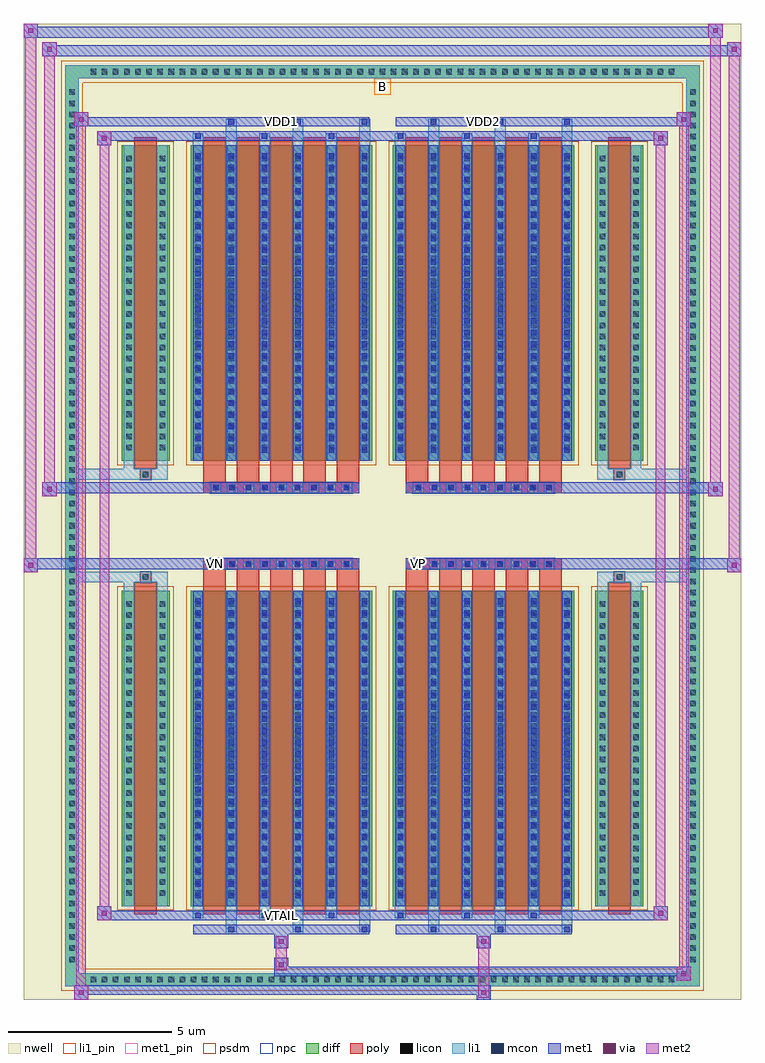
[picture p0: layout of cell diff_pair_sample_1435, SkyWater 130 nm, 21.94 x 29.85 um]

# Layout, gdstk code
import gdstk
lib = gdstk.Library(unit=1e-6, precision=5e-09)
def R(c, l, rs):  # rectangles x0, y0, x1, y1
    for r in rs: c.add(gdstk.rectangle(r[:2], r[2:], *l))
def A(c, l, x, y, w, h, nx, ny, dx, dy):  # array of equal rectangles
    R(c, l, [(x+i*dx, y+j*dy, x+i*dx+w, y+j*dy+h) for i in range(nx) for j in range(ny)])
def P(c, l, *ps):  # polygons
    for p in ps: c.add(gdstk.Polygon(p, *l))
nwell = (64, 20)
diff = (65, 20)
poly = (66, 20)
licon = (66, 44)
li1_pin = (67, 16)
li1 = (67, 20)
mcon = (67, 44)
met1_pin = (68, 16)
met1 = (68, 20)
via = (68, 44)
met2 = (69, 20)
psdm = (94, 20)
npc = (95, 20)

diff_pair_sample_1435 = lib.new_cell('diff_pair_sample_1435')
R(diff_pair_sample_1435, nwell, [(-10.97,-14.49,10.97,15.36), (-8.29,-12.68,-0.01,-0.8), (0.01,-12.68,8.29,-0.8), (-8.29,0.8,-0.01,12.68), (0.01,0.8,8.29,12.68)])
A(diff_pair_sample_1435, diff, -9.045, -14.09, 0.41, 0.41, 53, 2, 0.34, 27.77)
A(diff_pair_sample_1435, diff, -9.7, -13.465, 0.41, 0.41, 1, 79, 0, 0.34)
A(diff_pair_sample_1435, diff, 9.29, -13.465, 0.41, 0.41, 1, 79, 0, 0.34)
R(diff_pair_sample_1435, diff, [(-9.045,-14.09,9.045,-13.68), (-9.7,-13.465,-9.29,13.465), (9.29,-13.465,9.7,13.465), (-7.98,-11.635,-6.51,-1.985), (-5.87,-11.635,-0.32,-1.985), (0.32,-11.635,5.87,-1.985), (6.51,-11.635,7.98,-1.985), (-7.98,1.985,-6.51,11.635), (-5.87,1.985,-0.32,11.635), (0.32,1.985,5.87,11.635), (6.51,1.985,7.98,11.635), (-9.045,13.68,9.045,14.09)])
P(diff_pair_sample_1435, diff, [(9.7,14.09),(-9.7,14.09),(-9.7,-13.68),(-9.29,-13.68),(-9.29,13.68),(9.29,13.68),(9.29,-13.68),(-9.29,-13.68),(-9.7,-13.68),(-9.7,-14.09),(9.7,-14.09)])
A(diff_pair_sample_1435, poly, -5.48, -11.885, 0.69, 10.15, 5, 2, 1.02, 13.62)
A(diff_pair_sample_1435, poly, 0.71, -11.885, 0.69, 10.15, 5, 2, 1.02, 13.62)
A(diff_pair_sample_1435, poly, -5.48, -1.735, 0.69, 0.405, 5, 2, 1.02, 3.065)
A(diff_pair_sample_1435, poly, 0.71, -1.735, 0.69, 0.405, 5, 2, 1.02, 3.065)
A(diff_pair_sample_1435, poly, -5.26, -1.33, 0.33, 0.33, 9, 2, 0.5, 2.33)
A(diff_pair_sample_1435, poly, 0.93, -1.33, 0.33, 0.33, 9, 2, 0.5, 2.33)
R(diff_pair_sample_1435, poly, [(-7.59,-11.885,-6.9,-1.735), (6.9,-11.885,7.59,-1.735), (-7.41,-1.735,-7.08,-1.405), (-7.41,-1.735,-7.08,-1.405), (7.08,-1.735,7.41,-1.405), (7.08,-1.735,7.41,-1.405), (-5.48,-1.33,-0.71,-1), (0.71,-1.33,5.48,-1), (-5.48,1,-0.71,1.33), (0.71,1,5.48,1.33), (-7.41,1.405,-7.08,1.735), (-7.41,1.405,-7.08,1.735), (7.08,1.405,7.41,1.735), (7.08,1.405,7.41,1.735), (-7.59,1.735,-6.9,11.885), (6.9,1.735,7.59,11.885)])
A(diff_pair_sample_1435, licon, -8.925, -13.97, 0.17, 0.17, 53, 2, 0.34, 27.77)
A(diff_pair_sample_1435, licon, -9.58, -13.345, 0.17, 0.17, 1, 79, 0, 0.34)
A(diff_pair_sample_1435, licon, 9.41, -13.345, 0.17, 0.17, 1, 79, 0, 0.34)
A(diff_pair_sample_1435, licon, -7.84, -11.315, 0.17, 0.17, 1, 27, 0, 0.34)
A(diff_pair_sample_1435, licon, -6.82, -11.315, 0.17, 0.17, 1, 27, 0, 0.34)
A(diff_pair_sample_1435, licon, -5.73, -11.315, 0.17, 0.17, 6, 27, 1.02, 0.34)
A(diff_pair_sample_1435, licon, 0.46, -11.315, 0.17, 0.17, 6, 27, 1.02, 0.34)
A(diff_pair_sample_1435, licon, 6.65, -11.315, 0.17, 0.17, 1, 27, 0, 0.34)
A(diff_pair_sample_1435, licon, 7.67, -11.315, 0.17, 0.17, 1, 27, 0, 0.34)
A(diff_pair_sample_1435, licon, -5.18, -1.25, 0.17, 0.17, 9, 2, 0.5, 2.33)
A(diff_pair_sample_1435, licon, 1.01, -1.25, 0.17, 0.17, 9, 2, 0.5, 2.33)
A(diff_pair_sample_1435, licon, -7.84, 2.305, 0.17, 0.17, 1, 27, 0, 0.34)
A(diff_pair_sample_1435, licon, -6.82, 2.305, 0.17, 0.17, 1, 27, 0, 0.34)
A(diff_pair_sample_1435, licon, -5.73, 2.305, 0.17, 0.17, 6, 27, 1.02, 0.34)
A(diff_pair_sample_1435, licon, 0.46, 2.305, 0.17, 0.17, 6, 27, 1.02, 0.34)
A(diff_pair_sample_1435, licon, 6.65, 2.305, 0.17, 0.17, 1, 27, 0, 0.34)
A(diff_pair_sample_1435, licon, 7.67, 2.305, 0.17, 0.17, 1, 27, 0, 0.34)
R(diff_pair_sample_1435, licon, [(-7.33,-1.655,-7.16,-1.485), (7.16,-1.655,7.33,-1.485), (-7.33,1.485,-7.16,1.655), (7.16,1.485,7.33,1.655)])
R(diff_pair_sample_1435, li1_pin, [(-0.25,13.18,0.25,13.68)])
A(diff_pair_sample_1435, li1, -9.005, -14.05, 0.33, 0.33, 53, 2, 0.34, 27.77)
A(diff_pair_sample_1435, li1, -9.66, -13.425, 0.33, 0.33, 1, 79, 0, 0.34)
A(diff_pair_sample_1435, li1, 9.33, -13.425, 0.33, 0.33, 1, 79, 0, 0.34)
A(diff_pair_sample_1435, li1, -4.79, -12.44, 0.33, 0.805, 3, 2, 2.04, 24.075)
A(diff_pair_sample_1435, li1, -4.71, -12.44, 0.17, 0.17, 3, 2, 2.04, 24.71)
A(diff_pair_sample_1435, li1, 1.4, -12.44, 0.33, 0.805, 3, 2, 2.04, 24.075)
A(diff_pair_sample_1435, li1, 1.48, -12.44, 0.17, 0.17, 3, 2, 2.04, 24.71)
A(diff_pair_sample_1435, li1, -5.81, -12.01, 0.33, 0.375, 3, 2, 2.04, 23.645)
A(diff_pair_sample_1435, li1, -5.73, -12.01, 0.17, 0.17, 3, 2, 2.04, 23.85)
A(diff_pair_sample_1435, li1, 0.38, -12.01, 0.33, 0.375, 3, 2, 2.04, 23.645)
A(diff_pair_sample_1435, li1, 0.46, -12.01, 0.17, 0.17, 3, 2, 2.04, 23.85)
A(diff_pair_sample_1435, li1, -5.81, -11.635, 0.33, 9.65, 6, 2, 1.02, 13.62)
A(diff_pair_sample_1435, li1, 0.38, -11.635, 0.33, 9.65, 6, 2, 1.02, 13.62)
A(diff_pair_sample_1435, li1, -7.92, -11.395, 0.33, 0.33, 1, 27, 0, 0.34)
A(diff_pair_sample_1435, li1, -6.9, -11.395, 0.33, 0.33, 1, 27, 0, 0.34)
A(diff_pair_sample_1435, li1, -5.81, -11.395, 0.33, 0.33, 6, 27, 1.02, 0.34)
A(diff_pair_sample_1435, li1, -5.73, -11.395, 0.17, 0.17, 6, 26, 1.02, 0.36)
A(diff_pair_sample_1435, li1, -5.73, -11.395, 0.17, 9.17, 6, 2, 1.02, 13.62)
A(diff_pair_sample_1435, li1, 0.38, -11.395, 0.33, 0.33, 6, 27, 1.02, 0.34)
A(diff_pair_sample_1435, li1, 0.46, -11.395, 0.17, 0.17, 6, 26, 1.02, 0.36)
A(diff_pair_sample_1435, li1, 0.46, -11.395, 0.17, 9.17, 6, 2, 1.02, 13.62)
A(diff_pair_sample_1435, li1, 6.57, -11.395, 0.33, 0.33, 1, 27, 0, 0.34)
A(diff_pair_sample_1435, li1, 7.59, -11.395, 0.33, 0.33, 1, 27, 0, 0.34)
A(diff_pair_sample_1435, li1, -5.26, -1.33, 0.33, 0.33, 9, 2, 0.5, 2.33)
A(diff_pair_sample_1435, li1, 0.93, -1.33, 0.33, 0.33, 9, 2, 0.5, 2.33)
A(diff_pair_sample_1435, li1, -7.92, 2.225, 0.33, 0.33, 1, 27, 0, 0.34)
A(diff_pair_sample_1435, li1, -6.9, 2.225, 0.33, 0.33, 1, 27, 0, 0.34)
A(diff_pair_sample_1435, li1, -5.81, 2.225, 0.33, 0.33, 6, 27, 1.02, 0.34)
A(diff_pair_sample_1435, li1, -5.73, 2.225, 0.17, 0.17, 6, 26, 1.02, 0.36)
A(diff_pair_sample_1435, li1, 0.38, 2.225, 0.33, 0.33, 6, 27, 1.02, 0.34)
A(diff_pair_sample_1435, li1, 0.46, 2.225, 0.17, 0.17, 6, 26, 1.02, 0.36)
A(diff_pair_sample_1435, li1, 6.57, 2.225, 0.33, 0.33, 1, 27, 0, 0.34)
A(diff_pair_sample_1435, li1, 7.59, 2.225, 0.33, 0.33, 1, 27, 0, 0.34)
R(diff_pair_sample_1435, li1, [(-9.7,-14.09,-9.29,-13.68), (-9.7,-14.09,-9.29,-13.68), (-9.29,-14.09,9.29,-13.68), (9.29,-14.09,9.7,-13.68), (9.29,-14.09,9.7,-13.68), (-9.7,-13.68,-9.29,13.68), (9.29,-13.68,9.7,13.68), (-7.92,-11.635,-7.59,-1.985), (-6.9,-11.635,-6.57,-1.985), (6.57,-11.635,6.9,-1.985), (7.59,-11.635,7.92,-1.985), (-7.92,-1.985,-7.59,-1.405), (-6.9,-1.985,-6.57,-1.405), (6.57,-1.985,6.9,-1.405), (7.59,-1.985,7.92,-1.405), (-9.7,-1.735,-7.41,-1.405), (-7.92,-1.735,-7.41,-1.405), (-7.41,-1.735,-7.08,-1.405), (-7.08,-1.735,-6.57,-1.405), (6.57,-1.735,7.08,-1.405), (7.08,-1.735,7.41,-1.405), (7.08,-1.735,9.7,-1.405), (7.41,-1.735,7.92,-1.405), (-9.7,1.405,-7.41,1.735), (-7.92,1.405,-7.41,1.735), (-7.92,1.405,-7.59,1.985), (-7.41,1.405,-7.08,1.735), (-7.08,1.405,-6.57,1.735), (-6.9,1.405,-6.57,1.985), (6.57,1.405,7.08,1.735), (6.57,1.405,6.9,1.985), (7.08,1.405,7.41,1.735), (7.08,1.405,9.7,1.735), (7.41,1.405,7.92,1.735), (7.59,1.405,7.92,1.985), (-7.92,1.985,-7.59,11.635), (-6.9,1.985,-6.57,11.635), (6.57,1.985,6.9,11.635), (7.59,1.985,7.92,11.635), (-9.7,13.68,-9.29,14.09), (-9.7,13.68,-9.29,14.09), (-9.29,13.68,9.29,14.09), (9.29,13.68,9.7,14.09), (9.29,13.68,9.7,14.09)])
A(diff_pair_sample_1435, mcon, -4.71, -12.44, 0.17, 0.17, 3, 2, 2.04, 24.71)
A(diff_pair_sample_1435, mcon, 1.48, -12.44, 0.17, 0.17, 3, 2, 2.04, 24.71)
A(diff_pair_sample_1435, mcon, -5.73, -12.01, 0.17, 0.17, 3, 2, 2.04, 23.85)
A(diff_pair_sample_1435, mcon, 0.46, -12.01, 0.17, 0.17, 3, 2, 2.04, 23.85)
A(diff_pair_sample_1435, mcon, -5.73, -11.395, 0.17, 0.17, 6, 26, 1.02, 0.36)
A(diff_pair_sample_1435, mcon, 0.46, -11.395, 0.17, 0.17, 6, 26, 1.02, 0.36)
A(diff_pair_sample_1435, mcon, -5.18, -1.25, 0.17, 0.17, 9, 2, 0.5, 2.33)
A(diff_pair_sample_1435, mcon, 1.01, -1.25, 0.17, 0.17, 9, 2, 0.5, 2.33)
A(diff_pair_sample_1435, mcon, -5.73, 2.225, 0.17, 0.17, 6, 26, 1.02, 0.36)
A(diff_pair_sample_1435, mcon, 0.46, 2.225, 0.17, 0.17, 6, 26, 1.02, 0.36)
R(diff_pair_sample_1435, met1_pin, [(-3.23,-12.05,-2.96,-11.78), (-5.23,-1.29,-4.96,-1.02), (0.96,-1.29,1.23,-1.02), (-3.23,12.23,-2.96,12.5), (2.96,12.23,3.23,12.5)])
A(diff_pair_sample_1435, met1, -4.77, -12.5, 0.29, 0.29, 3, 2, 2.04, 24.71)
A(diff_pair_sample_1435, met1, 1.42, -12.5, 0.29, 0.29, 3, 2, 2.04, 24.71)
A(diff_pair_sample_1435, met1, -5.79, -12.07, 0.29, 0.29, 3, 2, 2.04, 23.85)
A(diff_pair_sample_1435, met1, 0.4, -12.07, 0.29, 0.29, 3, 2, 2.04, 23.85)
A(diff_pair_sample_1435, met1, -5.79, -11.635, 0.29, 9.65, 6, 2, 1.02, 13.62)
A(diff_pair_sample_1435, met1, 0.4, -11.635, 0.29, 9.65, 6, 2, 1.02, 13.62)
A(diff_pair_sample_1435, met1, -5.79, -11.455, 0.29, 0.29, 6, 26, 1.02, 0.36)
A(diff_pair_sample_1435, met1, 0.4, -11.455, 0.29, 0.29, 6, 26, 1.02, 0.36)
A(diff_pair_sample_1435, met1, -5.24, -1.31, 0.29, 0.29, 9, 2, 0.5, 2.33)
A(diff_pair_sample_1435, met1, 0.95, -1.31, 0.29, 0.29, 9, 2, 0.5, 2.33)
A(diff_pair_sample_1435, met1, -5.79, 2.165, 0.29, 0.29, 6, 26, 1.02, 0.36)
A(diff_pair_sample_1435, met1, 0.4, 2.165, 0.29, 0.29, 6, 26, 1.02, 0.36)
R(diff_pair_sample_1435, met1, [(-9.43,-14.49,-9,-14.06), (2.88,-14.49,3.31,-14.06), (-9.43,-14.35,3.31,-14.06), (9,-13.92,9.43,-13.49), (-3.31,-13.78,9.43,-13.49), (-3.31,-13.64,-2.88,-13.21), (-3.31,-12.93,-2.88,-12.5), (2.88,-12.93,3.31,-12.5), (-5.79,-12.5,-0.4,-12.21), (0.4,-12.5,5.79,-12.21), (-8.72,-12.07,-8.29,-11.64), (-8.72,-12.07,-5.79,-11.78), (-5.79,-12.07,-0.4,-11.78), (-0.4,-12.07,0.4,-11.78), (0.4,-12.07,5.79,-11.78), (5.79,-12.07,8.72,-11.78), (8.29,-12.07,8.72,-11.64), (-10.97,-1.43,-10.54,-1), (10.54,-1.43,10.97,-1), (-10.97,-1.33,-0.71,-1), (-5.48,-1.33,-0.71,-1), (0.71,-1.33,5.48,-1), (0.71,-1.33,10.97,-1), (-10.4,0.9,-9.97,1.33), (9.97,0.9,10.4,1.33), (-10.4,1,-5.48,1.33), (-5.48,1,-0.71,1.33), (0.71,1,5.48,1.33), (5.48,1,10.4,1.33), (-8.72,11.64,-8.29,12.07), (8.29,11.64,8.72,12.07), (-8.72,11.78,-5.79,12.07), (-5.79,11.78,-0.4,12.07), (-0.4,11.78,0.4,12.07), (0.4,11.78,5.79,12.07), (5.79,11.78,8.72,12.07), (-9.43,12.21,-9,12.64), (-9.43,12.21,-5.79,12.5), (-5.79,12.21,-0.4,12.5), (0.4,12.21,5.79,12.5), (5.79,12.21,9.43,12.5), (9,12.21,9.43,12.64), (-10.4,14.36,-9.97,14.79), (-10.4,14.36,-8.29,14.69), (-8.29,14.36,8.29,14.69), (8.29,14.36,10.97,14.69), (10.54,14.36,10.97,14.79), (-10.97,14.93,-10.54,15.36), (-10.97,14.93,-8.29,15.26), (-8.29,14.93,8.29,15.26), (8.29,14.93,10.4,15.26), (9.97,14.93,10.4,15.36)])
R(diff_pair_sample_1435, via, [(-9.29,-14.35,-9.14,-14.2), (3.02,-14.35,3.17,-14.2), (9.14,-13.78,9.29,-13.63), (-3.17,-13.5,-3.02,-13.35), (-3.17,-12.79,-3.02,-12.64), (3.02,-12.79,3.17,-12.64), (-8.58,-11.93,-8.43,-11.78), (8.43,-11.93,8.58,-11.78), (-10.83,-1.29,-10.68,-1.14), (10.68,-1.29,10.83,-1.14), (-10.26,1.04,-10.11,1.19), (10.11,1.04,10.26,1.19), (-8.58,11.78,-8.43,11.93), (8.43,11.78,8.58,11.93), (-9.29,12.35,-9.14,12.5), (9.14,12.35,9.29,12.5), (-10.26,14.5,-10.11,14.65), (10.68,14.5,10.83,14.65), (-10.83,15.07,-10.68,15.22), (10.11,15.07,10.26,15.22)])
R(diff_pair_sample_1435, met2, [(-9.43,-14.49,-9,-14.06), (-9.36,-14.49,-9.07,12.64), (-9.07,-14.49,-9,-14.06), (-9.38,-14.44,-9.05,-14.11), (2.93,-14.44,3.26,-14.11), (2.93,-14.11,3.26,-12.88), (9,-13.92,9.43,-13.49), (9.07,-13.92,9.36,12.64), (9.36,-13.92,9.43,-13.49), (9.05,-13.87,9.38,-13.54), (-3.26,-13.59,-2.93,-13.26), (-3.26,-13.26,-2.93,-12.88), (-3.26,-12.88,-2.93,-12.55), (2.93,-12.88,3.26,-12.55), (-8.72,-12.07,-8.29,-11.64), (-8.65,-12.07,-8.36,12.07), (-8.36,-12.07,-8.29,-11.64), (8.29,-12.07,8.72,-11.64), (8.36,-12.07,8.65,12.07), (8.65,-12.07,8.72,-11.64), (-8.67,-12.02,-8.34,-11.69), (8.34,-12.02,8.67,-11.69), (-10.97,-1.43,-10.54,-1), (-10.92,-1.43,-10.59,15.36), (-10.59,-1.43,-10.54,-1), (10.54,-1.43,10.97,-1), (10.59,-1.43,10.92,14.79), (10.92,-1.43,10.97,-1), (-10.92,-1.38,-10.59,-1.05), (10.59,-1.38,10.92,-1.05), (-10.4,0.9,-9.97,1.33), (-10.35,0.9,-10.02,14.79), (-10.02,0.9,-9.97,1.33), (9.97,0.9,10.4,1.33), (10.02,0.9,10.35,15.36), (10.35,0.9,10.4,1.33), (-10.35,0.95,-10.02,1.28), (10.02,0.95,10.35,1.28), (-8.72,11.64,-8.29,12.07), (-8.36,11.64,-8.29,12.07), (8.29,11.64,8.72,12.07), (8.65,11.64,8.72,12.07), (-8.67,11.69,-8.34,12.02), (8.34,11.69,8.67,12.02), (-9.43,12.21,-9,12.64), (-9.07,12.21,-9,12.64), (9,12.21,9.43,12.64), (9.36,12.21,9.43,12.64), (-9.38,12.26,-9.05,12.59), (9.05,12.26,9.38,12.59), (-10.4,14.36,-9.97,14.79), (-10.02,14.36,-9.97,14.79), (10.54,14.36,10.97,14.79), (10.92,14.36,10.97,14.79), (-10.35,14.41,-10.02,14.74), (10.59,14.41,10.92,14.74), (-10.97,14.93,-10.54,15.36), (-10.59,14.93,-10.54,15.36), (9.97,14.93,10.4,15.36), (10.35,14.93,10.4,15.36), (-10.92,14.98,-10.59,15.31), (10.02,14.98,10.35,15.31)])
R(diff_pair_sample_1435, psdm, [(-8.11,-11.765,-6.38,-1.855), (-6,-11.765,-0.19,-1.855), (0.19,-11.765,6,-1.855), (6.38,-11.765,8.11,-1.855), (-8.11,1.855,-6.38,11.765), (-6,1.855,-0.19,11.765), (0.19,1.855,6,11.765), (6.38,1.855,8.11,11.765)])
P(diff_pair_sample_1435, psdm, [(9.83,14.22),(-9.83,14.22),(-9.83,-13.55),(-9.16,-13.55),(-9.16,13.55),(9.16,13.55),(9.16,-13.55),(-9.16,-13.55),(-9.83,-13.55),(-9.83,-14.22),(9.83,-14.22)])
A(diff_pair_sample_1435, npc, -5.28, -1.35, 0.37, 0.37, 9, 2, 0.5, 2.33)
A(diff_pair_sample_1435, npc, 0.91, -1.35, 0.37, 0.37, 9, 2, 0.5, 2.33)
R(diff_pair_sample_1435, npc, [(-7.43,-1.755,-7.06,-1.385), (7.06,-1.755,7.43,-1.385), (-5.28,-1.35,-4.41,-0.98), (-5.28,-1.35,-4.41,-0.98), (-4.78,-1.35,-3.91,-0.98), (-4.78,-1.35,-3.91,-0.98), (-4.28,-1.35,-3.41,-0.98), (-4.28,-1.35,-3.41,-0.98), (-3.78,-1.35,-2.91,-0.98), (-3.78,-1.35,-2.91,-0.98), (-3.28,-1.35,-2.41,-0.98), (-3.28,-1.35,-2.41,-0.98), (-2.78,-1.35,-1.91,-0.98), (-2.78,-1.35,-1.91,-0.98), (-2.28,-1.35,-1.41,-0.98), (-2.28,-1.35,-1.41,-0.98), (-1.78,-1.35,-0.91,-0.98), (-1.78,-1.35,-0.91,-0.98), (0.91,-1.35,1.78,-0.98), (0.91,-1.35,1.78,-0.98), (1.41,-1.35,2.28,-0.98), (1.41,-1.35,2.28,-0.98), (1.91,-1.35,2.78,-0.98), (1.91,-1.35,2.78,-0.98), (2.41,-1.35,3.28,-0.98), (2.41,-1.35,3.28,-0.98), (2.91,-1.35,3.78,-0.98), (2.91,-1.35,3.78,-0.98), (3.41,-1.35,4.28,-0.98), (3.41,-1.35,4.28,-0.98), (3.91,-1.35,4.78,-0.98), (3.91,-1.35,4.78,-0.98), (4.41,-1.35,5.28,-0.98), (4.41,-1.35,5.28,-0.98), (-5.28,0.98,-4.41,1.35), (-5.28,0.98,-4.41,1.35), (-4.78,0.98,-3.91,1.35), (-4.78,0.98,-3.91,1.35), (-4.28,0.98,-3.41,1.35), (-4.28,0.98,-3.41,1.35), (-3.78,0.98,-2.91,1.35), (-3.78,0.98,-2.91,1.35), (-3.28,0.98,-2.41,1.35), (-3.28,0.98,-2.41,1.35), (-2.78,0.98,-1.91,1.35), (-2.78,0.98,-1.91,1.35), (-2.28,0.98,-1.41,1.35), (-2.28,0.98,-1.41,1.35), (-1.78,0.98,-0.91,1.35), (-1.78,0.98,-0.91,1.35), (0.91,0.98,1.78,1.35), (0.91,0.98,1.78,1.35), (1.41,0.98,2.28,1.35), (1.41,0.98,2.28,1.35), (1.91,0.98,2.78,1.35), (1.91,0.98,2.78,1.35), (2.41,0.98,3.28,1.35), (2.41,0.98,3.28,1.35), (2.91,0.98,3.78,1.35), (2.91,0.98,3.78,1.35), (3.41,0.98,4.28,1.35), (3.41,0.98,4.28,1.35), (3.91,0.98,4.78,1.35), (3.91,0.98,4.78,1.35), (4.41,0.98,5.28,1.35), (4.41,0.98,5.28,1.35), (-7.43,1.385,-7.06,1.755), (7.06,1.385,7.43,1.755)])
diff_pair_sample_1435.add(gdstk.Label('VTAIL', (-3.095,-11.915), layer=68, texttype=5))
diff_pair_sample_1435.add(gdstk.Label('VN', (-5.095,-1.155), layer=68, texttype=5))
diff_pair_sample_1435.add(gdstk.Label('VP', (1.095,-1.155), layer=68, texttype=5))
diff_pair_sample_1435.add(gdstk.Label('B', (0,13.43), layer=67, texttype=5))
diff_pair_sample_1435.add(gdstk.Label('VDD2', (3.095,12.365), layer=68, texttype=5))
diff_pair_sample_1435.add(gdstk.Label('VDD1', (-3.095,12.365), layer=68, texttype=5))

lib.write_gds('diff_pair_sample_1435.gds')
